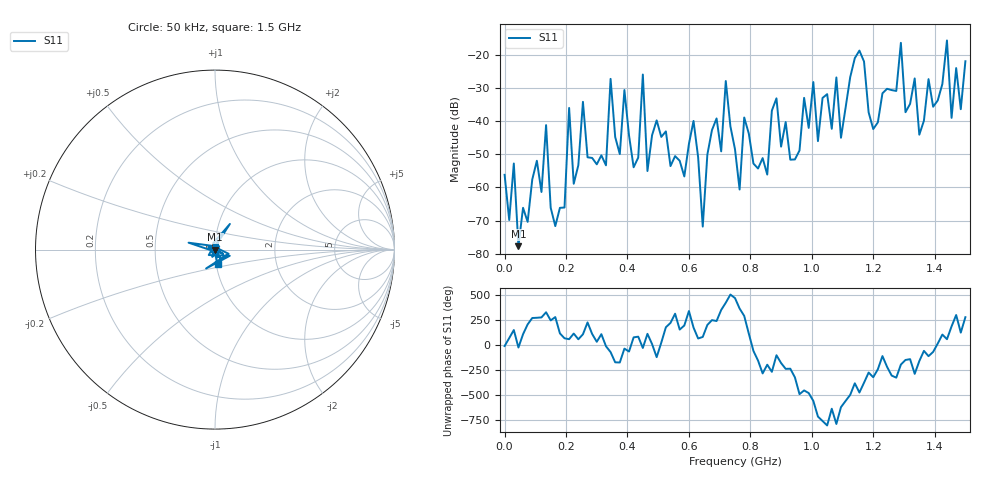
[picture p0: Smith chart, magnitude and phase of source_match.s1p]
! Created with skrf 1.8.0 (http://scikit-rf.org).
# Hz S RI R 50.0
!freq ReS11 ImS11
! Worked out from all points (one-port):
!   101 points, 50 kHz to 1.5 GHz, reference 50 ohm
!   lowest |S11| = -77.7 dB at 45.05 MHz (marker M1), VSWR 1.00, Z = 50 - j0.00524 ohm
!   |S11| at or under -10 dB: start of sweep to end of sweep
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50000  0.00153 -0.000239
3.0049e7  -0.00203 0.00108
4.50485e7  0.000119 -5.24e-05
1.350455e8  0.00756 -0.00436
1.50045e8  -0.000183 -0.000459
1.950435e8  0.000179 0.000465
2.10043e8  0.00796 0.0137
2.250425e8  -0.000503 0.00102
2.550415e8  -0.00632 0.0185
3.30039e8  0.00212 -0.000409
3.450385e8  0.0151 -0.0408
3.750375e8  -0.00317 -0.000337
3.90037e8  0.0243 -0.0168
4.350355e8  0.000234 0.00281
4.50035e8  0.0446 -0.0239
4.650345e8  -0.000709 0.00162
5.70031e8  -0.00231 0.00101
6.150295e8  -0.0101 0.000612
6.450285e8  3.42e-05 0.000254
7.20026e8  0.0166 0.0368
7.50025e8  -0.00143 0.00348
8.550215e8  -0.0015 0.000437
8.850205e8  -0.00427 -0.0217
9.450185e8  0.00211 0.00159
1.125012e9  -0.0347 -0.0303
1.290007e9  -0.1472 0.0385
1.320006e9  -0.0141 -0.0116
1.5e9  0.0148 -0.079
